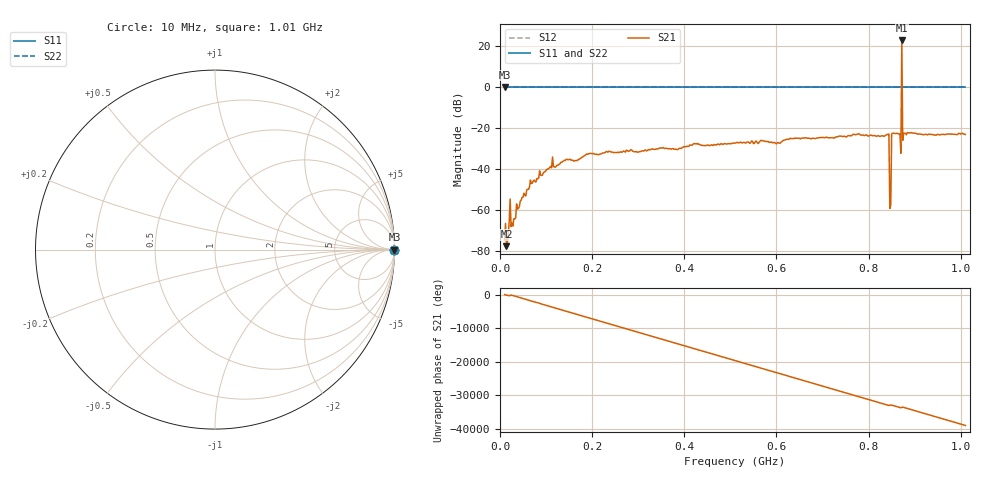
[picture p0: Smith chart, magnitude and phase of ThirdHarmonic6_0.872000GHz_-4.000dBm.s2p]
! 8/16/2025 4:46:17 AM
! C:\ANRITSUVNA\TEMP\TEMP.S2P
! CHANNEL.1
! TR.MEASUREMENT
! RAW.DATA
! RF.CORRECTION.OFF
! AVERAGING.OFF
! IF.BANDWIDTH: 5KHZ
! SWEEPTYPE:  FREQ.SWEEP(Linear)
! Reference Plane Port Info
! PORT:  PORT1  PORT2
! DISTANCE:  0  m  0  m
! TIME:  0  s  0  s
! PHASE.OFFSET:  0  deg.  0  deg.
! LOSS:  0  dB  0  dB
! REF.LOSS:  0  dB  0  dB
! REF.FREQ:  0  Hz  0  Hz
! Power Info
! POWER:  -20  dBm  -20  dBm
! EFF.POWER:  -20  dBm  -20  dBm
! SOURCE.ATTEN:  0  dB  0  dB
! TEST.ATTEN:  0  dB  0  dB
# GHZ S RI R 50.0
! FREQ.GHZ  S11RE  S11IM  S21RE  S21IM  S12RE  S12IM  S22RE  S22IM
!; PortSelection: Port_12
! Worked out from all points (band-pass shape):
!   501 points, 10 MHz to 1.01 GHz, reference 50 ohm
!   highest |S21| = 22.62 dB at 872 MHz (marker M1); lowest = -77.5 dB at 14 MHz (marker M2)
!   |S21| within 3 dB of the highest: 871.8908 MHz to 872.1233 MHz (232.6 kHz wide, 0.0267 % of centre)
!   lowest |S11| = 0.0 dB at 10 MHz (marker M3)
!   |S11| at or under -10 dB: nowhere
!   |S22| runs from 0.0 to 0.0 dB; largest |S21 - S12| = 14
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0.01  1 0  -1.9e-05 0.000187  1 0  1 0
0.014  1 0  1.67e-05 -0.000132  1 0  1 0
0.022  1 0  -0.00172 0.000729  1 0  1 0
0.026  1 0  -0.000453 -0.000173  1 0  1 0
0.028  1 0  -0.000374 0.00017  1 0  1 0
0.048  1 0  0.000767 0.00191  1 0  1 0
0.07  1 0  -0.00171 -0.0042  1 0  1 0
0.11  1 0  0.00606 0.0099  1 0  1 0
0.178  1 0  -0.0188 -0.00516  1 0  1 0
0.344  1 0  0.0311 -0.00464  1 0  1 0
0.51  1 0  -0.0411 0.012  1 0  1 0
0.678  1 0  -0.0181 -0.0535  1 0  1 0
0.84  1 0  -0.0571 -0.0406  1 0  1 0
0.844  1 0  0.0415 0.0582  1 0  1 0
0.85  1 0  -0.0718 0.00543  1 0  1 0
0.854  1 0  0.0742 0.0107  1 0  1 0
0.866  1 0  -0.032 -0.0642  1 0  1 0
0.868  1 0  -0.0696 0.0197  1 0  1 0
0.872  1 0  -13.09 -3.379  1 0  1 0
0.876  1 0  -0.068 -0.0303  1 0  1 0
0.878  1 0  -0.0395 0.0627  1 0  1 0
1.01  1 0  -0.063 -0.0299  1 0  1 0
